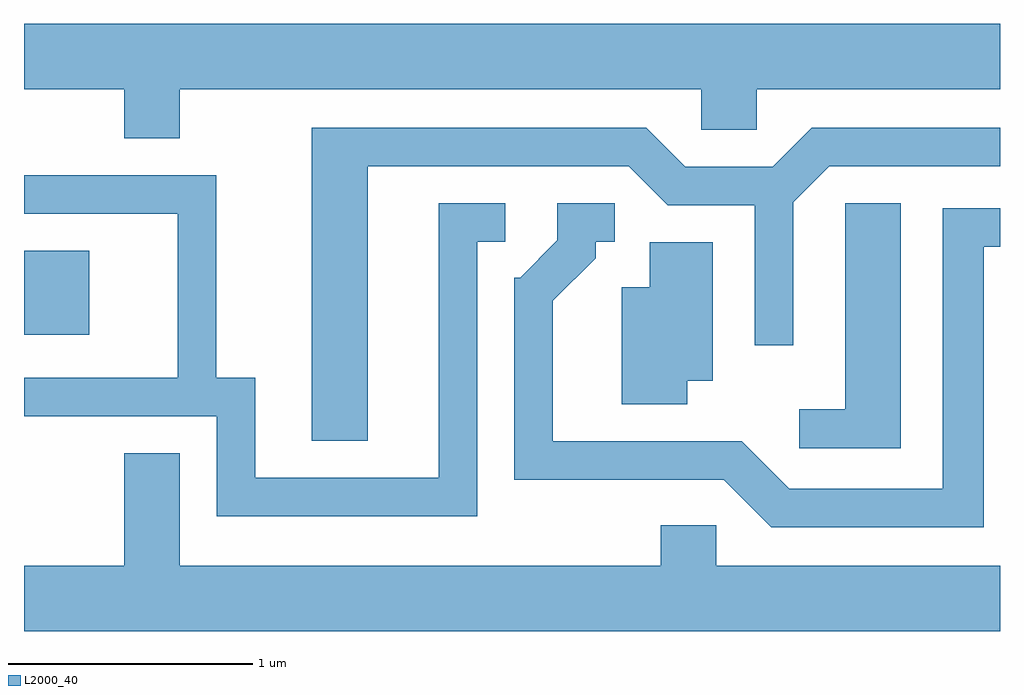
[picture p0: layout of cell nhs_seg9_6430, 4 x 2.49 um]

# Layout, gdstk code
import gdstk
lib = gdstk.Library(unit=1e-6, precision=1e-09)
def R(c, l, rs):  # rectangles x0, y0, x1, y1
    for r in rs: c.add(gdstk.rectangle(r[:2], r[2:], *l))
def P(c, l, *ps):  # polygons
    for p in ps: c.add(gdstk.Polygon(p, *l))
L2000_40 = (2000, 40)

nhs_seg9_6430 = lib.new_cell('nhs_seg9_6430')
R(nhs_seg9_6430, L2000_40, [(375.611,1964.171,375.879,1964.514)])
P(nhs_seg9_6430, L2000_40, [(376.249,1965.176),(378.386,1965.176),(378.386,1965.011),(378.614,1965.011),(378.614,1965.176),(379.611,1965.176),(379.611,1965.444),(375.611,1965.444),(375.611,1965.176),(376.021,1965.176),(376.021,1964.976),(376.249,1964.976)],
  [(377.019,1964.861),(378.089,1964.861),(378.249,1964.701),(378.606,1964.701),(378.606,1964.128),(378.764,1964.128),(378.764,1964.714),(378.912,1964.861),(379.611,1964.861),(379.611,1965.019),(378.839,1965.019),(378.679,1964.859),(378.322,1964.859),(378.162,1965.019),(376.791,1965.019),(376.791,1963.736),(377.019,1963.736)],
  [(377.469,1964.551),(377.583,1964.551),(377.583,1964.709),(377.311,1964.709),(377.311,1963.584),(376.559,1963.584),(376.559,1963.994),(376.399,1963.994),(376.399,1964.824),(375.611,1964.824),(375.611,1964.666),(376.241,1964.666),(376.241,1963.994),(375.611,1963.994),(375.611,1963.836),(376.401,1963.836),(376.401,1963.426),(377.469,1963.426)],
  [(379.204,1964.709),(378.976,1964.709),(378.976,1963.864),(378.788,1963.864),(378.788,1963.706),(379.204,1963.706)],
  [(379.544,1964.531),(379.611,1964.531),(379.611,1964.689),(379.376,1964.689),(379.376,1963.539),(378.747,1963.539),(378.552,1963.734),(377.779,1963.734),(377.779,1964.309),(377.954,1964.484),(377.954,1964.551),(378.033,1964.551),(378.033,1964.709),(377.796,1964.709),(377.796,1964.557),(377.644,1964.404),(377.621,1964.404),(377.621,1963.576),(378.479,1963.576),(378.674,1963.381),(379.544,1963.381)],
  [(378.329,1963.981),(378.434,1963.981),(378.434,1964.549),(378.176,1964.549),(378.176,1964.364),(378.061,1964.364),(378.061,1963.886),(378.329,1963.886)],
  [(379.611,1963.224),(378.449,1963.224),(378.449,1963.389),(378.221,1963.389),(378.221,1963.224),(376.249,1963.224),(376.249,1963.684),(376.021,1963.684),(376.021,1963.224),(375.611,1963.224),(375.611,1962.956),(379.611,1962.956)])

lib.write_gds('nhs_seg9_6430.gds')
